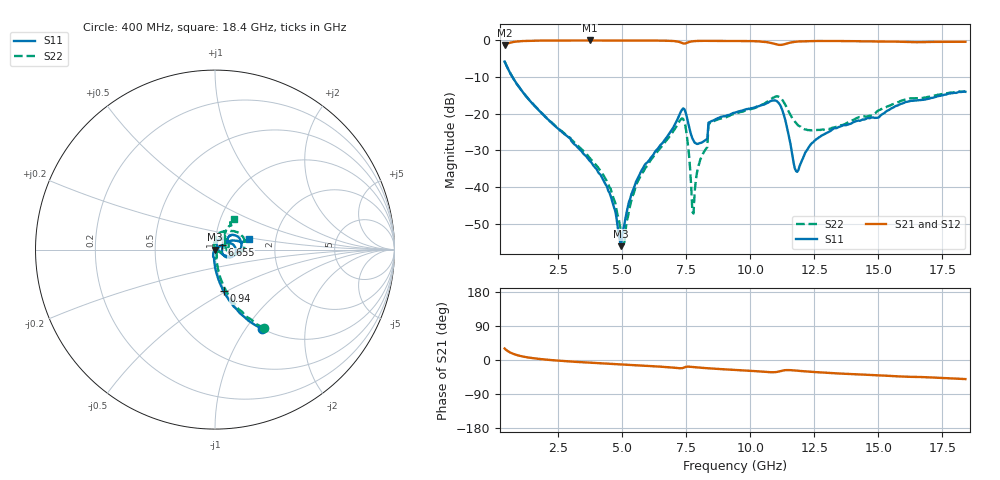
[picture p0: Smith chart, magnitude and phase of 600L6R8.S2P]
!  American Technical Ceramics  Date:  10/26/00
!  One Norden Lane
!  Huntington Station,  NY.  11746-2102
!  Tel:  (631) 622-4700  Fax:  (631) 622-4748
!  Part Number  600L6R8D  Mounting Orientation:  Horizontal
!  Description:  Low ESR, High Q Microwave capacitors
!  Application: Coupling, Bypass, Tuning, DC Block
!  Filters, Matching
# GHZ S DB R 50
! Freq  |S11|  S11 Ph  |S21|  S21 Ph  |S12|  S12 Ph  |S22|  S22 Ph
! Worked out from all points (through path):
!   401 points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, 400 MHz to 18.4 GHz, reference 50 ohm
!   highest |S21| = -0.05 dB at 3.73 GHz (marker M1); lowest = -1.4 dB at 400 MHz (marker M2)
!   group delay of S21, straight-line fit = 8.92 ps
!   lowest |S11| = -56.1 dB at 4.945 GHz (marker M3), VSWR 1.00, Z = 50.1 - j0.11 ohm
!   |S11| at or under -10 dB: 703.7 MHz to end of sweep
!   |S22| runs from -55.8 to -5.8 dB; largest |S21 - S12| = 0.0052
!   S11 on the Smith chart (normalised r, x): 400 MHz: 1.00, -1.19; 940 MHz: 0.98, -0.48; 6.655 GHz: 1.08, +0.05; 18.4 GHz: 1.45, +0.18
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0.4  -5.80 -59.4  -1.41 30.3  -1.41 30.3  -5.75 -58.0
0.94  -12.53 -78.2  -0.30 11.9  -0.30 11.8  -12.53 -75.3
3.415  -30.30 -110.5  -0.05 -5.9  -0.05 -5.8  -29.71 -72.5
3.73  -32.91 -116.2  -0.05 -7.2  -0.05 -7.1  -32.10 -68.0
4.495  -41.52 -119.6  -0.06 -10.1  -0.06 -10.0  -40.00 -57.1
4.945  -56.09 -44.6  -0.06 -11.7  -0.06 -11.7  -51.92 -16.4
5.08  -50.14 4.8  -0.07 -12.2  -0.06 -12.2  -54.98 53.5
5.53  -38.56 29.8  -0.07 -13.8  -0.07 -13.8  -39.67 100.9
6.43  -29.11 32.2  -0.10 -17.3  -0.09 -17.3  -29.79 98.9
6.655  -27.08 33.3  -0.12 -18.3  -0.11 -18.2  -27.86 94.5
7.375  -18.57 -2.2  -0.86 -20.8  -0.83 -20.6  -21.43 26.5
7.51  -20.65 -29.3  -0.72 -17.8  -0.71 -17.7  -25.49 -13.1
7.69  -25.83 -30.8  -0.33 -18.2  -0.32 -18.1  -39.95 -26.6
7.78  -27.34 -21.9  -0.25 -18.8  -0.25 -18.7  -47.19 66.8
8.23  -27.29 17.3  -0.15 -21.3  -0.15 -21.2  -29.96 91.0
8.455  -22.13 36.9  -0.17 -22.5  -0.16 -22.4  -22.46 82.9
9.4  -19.73 42.8  -0.20 -25.9  -0.19 -25.8  -19.99 72.5
11.065  -16.79 3.8  -1.20 -31.1  -1.18 -31.0  -15.25 16.9
11.83  -35.84 27.7  -0.36 -28.2  -0.36 -28.1  -22.91 -10.5
12.415  -27.95 75.1  -0.20 -31.4  -0.20 -31.2  -24.51 9.7
15.43  -18.93 26.6  -0.34 -41.9  -0.32 -41.7  -17.84 60.7
18.4  -14.03 17.8  -0.40 -50.3  -0.40 -50.1  -13.93 57.6
